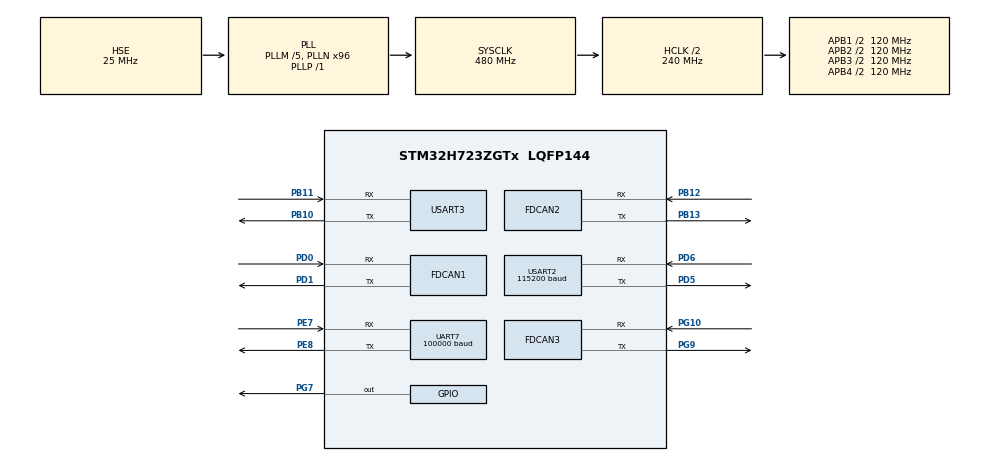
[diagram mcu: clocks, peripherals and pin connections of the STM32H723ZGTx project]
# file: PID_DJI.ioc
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CORTEX_M7.default_mode_Activation=1
Dma.Request0=USART3_RX
Dma.Request1=USART3_TX
Dma.Request2=UART7_RX
Dma.Request3=UART7_TX
Dma.Request4=USART2_RX
Dma.Request5=USART2_TX
Dma.UART7_RX.2.Direction=DMA_PERIPH_TO_MEMORY
Dma.UART7_RX.2.EventEnable=DISABLE
Dma.UART7_RX.2.FIFOMode=DMA_FIFOMODE_DISABLE
Dma.UART7_RX.2.Instance=DMA1_Stream2
Dma.UART7_RX.2.MemDataAlignment=DMA_MDATAALIGN_BYTE
Dma.UART7_RX.2.MemInc=DMA_MINC_ENABLE
Dma.UART7_RX.2.Mode=DMA_NORMAL
Dma.UART7_RX.2.PeriphDataAlignment=DMA_PDATAALIGN_BYTE
Dma.UART7_RX.2.PeriphInc=DMA_PINC_DISABLE
Dma.UART7_RX.2.Polarity=HAL_DMAMUX_REQ_GEN_RISING
Dma.UART7_RX.2.Priority=DMA_PRIORITY_LOW
Dma.UART7_RX.2.RequestNumber=1
Dma.UART7_RX.2.SignalID=NONE
Dma.UART7_RX.2.SyncEnable=DISABLE
Dma.UART7_RX.2.SyncPolarity=HAL_DMAMUX_SYNC_NO_EVENT
Dma.UART7_RX.2.SyncRequestNumber=1
Dma.UART7_RX.2.SyncSignalID=NONE
Dma.UART7_TX.3.Direction=DMA_MEMORY_TO_PERIPH
Dma.UART7_TX.3.EventEnable=DISABLE
Dma.UART7_TX.3.FIFOMode=DMA_FIFOMODE_DISABLE
Dma.UART7_TX.3.Instance=DMA1_Stream3
Dma.UART7_TX.3.MemDataAlignment=DMA_MDATAALIGN_BYTE
Dma.UART7_TX.3.MemInc=DMA_MINC_ENABLE
Dma.UART7_TX.3.Mode=DMA_NORMAL
Dma.UART7_TX.3.PeriphDataAlignment=DMA_PDATAALIGN_BYTE
Dma.UART7_TX.3.PeriphInc=DMA_PINC_DISABLE
Dma.UART7_TX.3.Polarity=HAL_DMAMUX_REQ_GEN_RISING
Dma.UART7_TX.3.Priority=DMA_PRIORITY_LOW
Dma.UART7_TX.3.RequestNumber=1
Dma.UART7_TX.3.SignalID=NONE
Dma.UART7_TX.3.SyncEnable=DISABLE
Dma.UART7_TX.3.SyncPolarity=HAL_DMAMUX_SYNC_NO_EVENT
Dma.UART7_TX.3.SyncRequestNumber=1
Dma.UART7_TX.3.SyncSignalID=NONE
Dma.USART2_RX.4.Direction=DMA_PERIPH_TO_MEMORY
Dma.USART2_RX.4.EventEnable=DISABLE
Dma.USART2_RX.4.FIFOMode=DMA_FIFOMODE_DISABLE
Dma.USART2_RX.4.Instance=DMA1_Stream4
Dma.USART2_RX.4.MemDataAlignment=DMA_MDATAALIGN_BYTE
Dma.USART2_RX.4.MemInc=DMA_MINC_ENABLE
Dma.USART2_RX.4.Mode=DMA_NORMAL
Dma.USART2_RX.4.PeriphDataAlignment=DMA_PDATAALIGN_BYTE
Dma.USART2_RX.4.PeriphInc=DMA_PINC_DISABLE
Dma.USART2_RX.4.Polarity=HAL_DMAMUX_REQ_GEN_RISING
Dma.USART2_RX.4.Priority=DMA_PRIORITY_LOW
Dma.USART2_RX.4.RequestNumber=1
Dma.USART2_RX.4.SignalID=NONE
Dma.USART2_RX.4.SyncEnable=DISABLE
Dma.USART2_RX.4.SyncPolarity=HAL_DMAMUX_SYNC_NO_EVENT
Dma.USART2_RX.4.SyncRequestNumber=1
Dma.USART2_RX.4.SyncSignalID=NONE
Dma.USART2_TX.5.Direction=DMA_MEMORY_TO_PERIPH
Dma.USART2_TX.5.EventEnable=DISABLE
Dma.USART2_TX.5.FIFOMode=DMA_FIFOMODE_DISABLE
Dma.USART2_TX.5.Instance=DMA1_Stream5
Dma.USART2_TX.5.MemDataAlignment=DMA_MDATAALIGN_BYTE
Dma.USART2_TX.5.MemInc=DMA_MINC_ENABLE
Dma.USART2_TX.5.Mode=DMA_NORMAL
Dma.USART2_TX.5.PeriphDataAlignment=DMA_PDATAALIGN_BYTE
Dma.USART2_TX.5.PeriphInc=DMA_PINC_DISABLE
Dma.USART2_TX.5.Polarity=HAL_DMAMUX_REQ_GEN_RISING
Dma.USART2_TX.5.Priority=DMA_PRIORITY_LOW
Dma.USART2_TX.5.RequestNumber=1
Dma.USART2_TX.5.SignalID=NONE
Dma.USART2_TX.5.SyncEnable=DISABLE
Dma.USART2_TX.5.SyncPolarity=HAL_DMAMUX_SYNC_NO_EVENT
Dma.USART2_TX.5.SyncRequestNumber=1
Dma.USART2_TX.5.SyncSignalID=NONE
Dma.USART3_RX.0.Direction=DMA_PERIPH_TO_MEMORY
Dma.USART3_RX.0.EventEnable=DISABLE
Dma.USART3_RX.0.FIFOMode=DMA_FIFOMODE_DISABLE
Dma.USART3_RX.0.Instance=DMA1_Stream0
Dma.USART3_RX.0.MemDataAlignment=DMA_MDATAALIGN_BYTE
Dma.USART3_RX.0.MemInc=DMA_MINC_ENABLE
Dma.USART3_RX.0.Mode=DMA_NORMAL
Dma.USART3_RX.0.PeriphDataAlignment=DMA_PDATAALIGN_BYTE
Dma.USART3_RX.0.PeriphInc=DMA_PINC_DISABLE
Dma.USART3_RX.0.Polarity=HAL_DMAMUX_REQ_GEN_RISING
Dma.USART3_RX.0.Priority=DMA_PRIORITY_LOW
Dma.USART3_RX.0.RequestNumber=1
Dma.USART3_RX.0.SignalID=NONE
Dma.USART3_RX.0.SyncEnable=DISABLE
Dma.USART3_RX.0.SyncPolarity=HAL_DMAMUX_SYNC_NO_EVENT
Dma.USART3_RX.0.SyncRequestNumber=1
Dma.USART3_RX.0.SyncSignalID=NONE
Dma.USART3_TX.1.Direction=DMA_MEMORY_TO_PERIPH
Dma.USART3_TX.1.EventEnable=DISABLE
Dma.USART3_TX.1.FIFOMode=DMA_FIFOMODE_DISABLE
Dma.USART3_TX.1.Instance=DMA1_Stream1
Dma.USART3_TX.1.MemDataAlignment=DMA_MDATAALIGN_BYTE
Dma.USART3_TX.1.MemInc=DMA_MINC_ENABLE
Dma.USART3_TX.1.Mode=DMA_NORMAL
Dma.USART3_TX.1.PeriphDataAlignment=DMA_PDATAALIGN_BYTE
Dma.USART3_TX.1.PeriphInc=DMA_PINC_DISABLE
Dma.USART3_TX.1.Polarity=HAL_DMAMUX_REQ_GEN_RISING
Dma.USART3_TX.1.Priority=DMA_PRIORITY_LOW
Dma.USART3_TX.1.RequestNumber=1
Dma.USART3_TX.1.SignalID=NONE
Dma.USART3_TX.1.SyncEnable=DISABLE
Dma.USART3_TX.1.SyncPolarity=HAL_DMAMUX_SYNC_NO_EVENT
Dma.USART3_TX.1.SyncRequestNumber=1
Dma.USART3_TX.1.SyncSignalID=NONE
FDCAN1.CalculateBaudRateNominal=1000000
FDCAN1.CalculateTimeBitNominal=1000
FDCAN1.CalculateTimeQuantumNominal=25.0
FDCAN1.DataPrescaler=3
FDCAN1.DataSyncJumpWidth=10
FDCAN1.DataTimeSeg1=29
FDCAN1.DataTimeSeg2=10
FDCAN1.NominalPrescaler=3
FDCAN1.NominalSyncJumpWidth=10
FDCAN1.NominalTimeSeg1=29
FDCAN1.NominalTimeSeg2=10
FDCAN1.ProtocolException=ENABLE
FDCAN1.RxFifo0ElmtsNbr=4
FDCAN1.StdFiltersNbr=1
FDCAN1.TxFifoQueueElmtsNbr=4
FDCAN2.CalculateBaudRateNominal=1000000
FDCAN2.CalculateTimeBitNominal=1000
FDCAN2.CalculateTimeQuantumNominal=25.0
FDCAN2.DataPrescaler=3
FDCAN2.DataSyncJumpWidth=10
FDCAN2.DataTimeSeg1=29
FDCAN2.DataTimeSeg2=10
FDCAN2.NominalPrescaler=3
FDCAN2.NominalSyncJumpWidth=10
FDCAN2.NominalTimeSeg1=29
FDCAN2.NominalTimeSeg2=10
FDCAN2.ProtocolException=ENABLE
FDCAN2.RxFifo0ElmtsNbr=4
FDCAN2.StdFiltersNbr=1
FDCAN2.TxFifoQueueElmtsNbr=4
FDCAN3.CalculateBaudRateNominal=1000000
FDCAN3.CalculateTimeBitNominal=1000
FDCAN3.CalculateTimeQuantumNominal=25.0
FDCAN3.DataPrescaler=3
FDCAN3.DataSyncJumpWidth=10
FDCAN3.DataTimeSeg1=29
FDCAN3.DataTimeSeg2=10
FDCAN3.NominalPrescaler=3
FDCAN3.NominalSyncJumpWidth=10
FDCAN3.NominalTimeSeg1=29
FDCAN3.NominalTimeSeg2=10
FDCAN3.ProtocolException=ENABLE
FDCAN3.RxFifo0ElmtsNbr=4
FDCAN3.StdFiltersNbr=1
FDCAN3.TxFifoQueueElmtsNbr=4
IWDG1.Prescaler=IWDG_PRESCALER_8
IWDG1.Reload=30
IWDG1.Window=30
Mcu.Family=STM32H7
Mcu.Name=STM32H723ZGTx
Mcu.Package=LQFP144
NVIC.DMA1_Stream0_IRQn=true\:0\:0\:false\:false\:true\:false\:true\:true
NVIC.DMA1_Stream1_IRQn=true\:0\:0\:false\:false\:true\:false\:true\:true
NVIC.DMA1_Stream2_IRQn=true\:0\:0\:false\:false\:true\:false\:true\:true
NVIC.DMA1_Stream3_IRQn=true\:0\:0\:false\:false\:true\:false\:true\:true
NVIC.DMA1_Stream4_IRQn=true\:0\:0\:false\:false\:true\:false\:true\:true
NVIC.DMA1_Stream5_IRQn=true\:0\:0\:false\:false\:true\:false\:true\:true
NVIC.FDCAN1_IT0_IRQn=true\:1\:0\:true\:false\:true\:true\:true\:true
NVIC.FDCAN2_IT0_IRQn=true\:1\:0\:true\:false\:true\:true\:true\:true
NVIC.FDCAN2_IT1_IRQn=true\:1\:0\:true\:false\:true\:true\:true\:true
NVIC.FDCAN3_IT0_IRQn=true\:0\:0\:false\:false\:true\:true\:true\:true
NVIC.FDCAN3_IT1_IRQn=true\:0\:0\:false\:false\:true\:true\:true\:true
NVIC.FDCAN_CAL_IRQn=true\:0\:0\:false\:false\:true\:true\:true\:true
NVIC.PriorityGroup=NVIC_PRIORITYGROUP_4
NVIC.TIM6_DAC_IRQn=true\:0\:0\:false\:false\:true\:true\:true\:true
NVIC.UART7_IRQn=true\:3\:0\:true\:false\:true\:true\:true\:true
NVIC.USART2_IRQn=true\:2\:0\:true\:false\:true\:true\:true\:true
NVIC.USART3_IRQn=true\:2\:0\:true\:false\:true\:true\:true\:true
PA13(JTMS/SWDIO).Mode=Serial_Wire
PA13(JTMS/SWDIO).Signal=DEBUG_JTMS-SWDIO
PA14(JTCK/SWCLK).Mode=Serial_Wire
PA14(JTCK/SWCLK).Signal=DEBUG_JTCK-SWCLK
PB10.Mode=Asynchronous
PB10.Signal=USART3_TX
PB11.Mode=Asynchronous
PB11.Signal=USART3_RX
PB12.Mode=FDCAN_Activate
PB12.Signal=FDCAN2_RX
PB13.Mode=FDCAN_Activate
PB13.Signal=FDCAN2_TX
PC14-OSC32_IN.Mode=LSE-External-Oscillator
PC14-OSC32_IN.Signal=RCC_OSC32_IN
PC15-OSC32_OUT.Mode=LSE-External-Oscillator
PC15-OSC32_OUT.Signal=RCC_OSC32_OUT
PD0.Mode=FDCAN_Activate
PD0.Signal=FDCAN1_RX
PD1.Mode=FDCAN_Activate
PD1.Signal=FDCAN1_TX
PD5.Mode=Asynchronous
PD5.Signal=USART2_TX
PD6.Mode=Asynchronous
PD6.Signal=USART2_RX
PE7.Mode=Asynchronous
PE7.Signal=UART7_RX
PE8.Mode=Asynchronous
PE8.Signal=UART7_TX
PG10.Mode=FDCAN_Activate
PG10.Signal=FDCAN3_RX
PG7.GPIO_PuPd=GPIO_PULLUP
PG7.Signal=GPIO_Output
PG9.Mode=FDCAN_Activate
PG9.Signal=FDCAN3_TX
PH0-OSC_IN.Mode=HSE-External-Oscillator
PH0-OSC_IN.Signal=RCC_OSC_IN
PH1-OSC_OUT.Mode=HSE-External-Oscillator
PH1-OSC_OUT.Signal=RCC_OSC_OUT
ProjectManager.HeapSize=0x200
ProjectManager.StackSize=0x400
ProjectManager.TargetToolchain=MDK-ARM V5.32
RCC.ADCFreq_Value=50390625
RCC.APB1Freq_Value=120000000
RCC.APB2Freq_Value=120000000
RCC.APB3Freq_Value=120000000
RCC.APB4Freq_Value=120000000
RCC.CortexFreq_Value=480000000
RCC.D1PPRE=RCC_APB3_DIV2
RCC.D2PPRE1=RCC_APB1_DIV2
RCC.D2PPRE2=RCC_APB2_DIV2
RCC.D3PPRE=RCC_APB4_DIV2
RCC.DIVM1=5
RCC.DIVN1=96
RCC.DIVP1=1
RCC.DIVQ1=4
RCC.HCLKFreq_Value=240000000
RCC.HPRE=RCC_HCLK_DIV2
RCC.HSE_VALUE=25000000
RCC.PLLFRACN=0
RCC.PLLSourceVirtual=RCC_PLLSOURCE_HSE
RCC.SYSCLKFreq_VALUE=480000000
RCC.SYSCLKSource=RCC_SYSCLKSOURCE_PLLCLK
RCC.USBFreq_Value=120000000
TIM6.Period=1000
TIM6.Prescaler=240
UART7.BaudRate=100000
USART2.BaudRate=115200
USART2.VirtualMode-Asynchronous=VM_ASYNC
USART3.VirtualMode-Asynchronous=VM_ASYNC
VP_IWDG1_VS_IWDG.Mode=IWDG_Activate
VP_TIM6_VS_ClockSourceINT.Mode=Enable_Timer
board=custom

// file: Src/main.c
/* USER CODE BEGIN Header */
/**
  ******************************************************************************
  * @file           : main.c
  * @brief          : Main program body
  ******************************************************************************
  * @attention
  *
  * Copyright (c) 2024 STMicroelectronics.
  * All rights reserved.
  *
  * This software is licensed under terms that can be found in the LICENSE file
  * in the root directory of this software component.
  * If no LICENSE file comes with this software, it is provided AS-IS.
  *
  ******************************************************************************
  */
/* USER CODE END Header */
#include "main.h"
#include "dma.h"
#include "fdcan.h"
#include "iwdg.h"
#include "tim.h"
#include "usart.h"
#include "gpio.h"

/* USER CODE BEGIN Includes */
#include "PID_MODEL.h"
#include "rtwtypes.h"
#include <math.h>
#include "bsp_fdcan.h"
#include "motorctrl.h"
#include "stdio.h"
#include "math.h"
#include "dm_motor_drv.h"
#include "dm_motor_ctrl.h"
#include "UPPER_LOCATION.h"
#include "stdio.h"
#include "string.h"
#include "sbus.h"
/* USER CODE END Includes */

/* USER CODE BEGIN PTD */
extern motor_t motor[num];
extern uint8_t CAN_RECEIVE[3];
extern TGT_COOR TC;
extern REAL_COOR RC;
extern double deadband;
extern motor_measure_t *motor_data_can1[8];
extern motor_measure_t *motor_data_can2[8];
extern motor_measure_t *motor_data_can3[8];

extern IWDG_HandleTypeDef hiwdg1;
extern int Vel_Deadband[3];
#define VEL      1
#define ANG      2
uint8_t active_can[10];
/* USER CODE END PTD */

/* USER CODE BEGIN PM */
vehicle_state vehicle_test={
0,0,0,0
};

uint8_t uart_index[2] = {0};
uint8_t buffer[100];
char UART2_TX_BUF[100];
uint8_t UART7_RX_BUF[100];
uint8_t UART2_RX_BUF[100];
uint8_t rx_datatemp[8];
int cnt[10];
int PinState=0;
uint8_t usart2_rec=0;
/* USER CODE END PM */

void SystemClock_Config(void);
static void MPU_Config(void);

int main(void)
{

  /* MPU Configuration--------------------------------------------------------*/
  MPU_Config();

  /* MCU Configuration--------------------------------------------------------*/

  /* Reset of all peripherals, Initializes the Flash interface and the Systick. */
  HAL_Init();

  /* Configure the system clock */
  SystemClock_Config();

  /* Initialize all configured peripherals */
  MX_GPIO_Init();
  MX_DMA_Init();
  MX_TIM6_Init();
  MX_FDCAN2_Init();
  MX_USART2_UART_Init();
  MX_FDCAN3_Init();
  MX_USART3_UART_Init();
  MX_FDCAN1_Init();
  MX_UART7_Init();
  MX_IWDG1_Init();
  /* USER CODE BEGIN 2 */
	HAL_TIM_Base_Start_IT(&htim6);
	HAL_UART_Receive_IT(&huart2, buffer+1, 1);
	HAL_UART_Receive_IT(&huart7, buffer, 1);
  can_filter_init();
	bsp_can_init();
	PID_MODEL_initialize();
	PID_Speed_Para_Init(1, 1, 10 , 3 , 0.01);
	PID_Speed_Para_Init(1, 2, 10 , 3 , 0.01);
	PID_Speed_Para_Init(1, 3, 10 , 3 , 0.01);
	PID_Speed_Para_Init(1, 4, 10 , 3 , 0.01);
	PID_Speed_Para_Init(1, 5, 10 , 3 , 0.01);

	PID_Speed_Para_Init(2, 1, 20 , 8 , 0.01);
	PID_Speed_Para_Init(2, 2, 20 , 8 , 0.01);
	PID_Speed_Para_Init(2, 3, 20 , 8 , 0.01);

	PID_Speed_Para_Init(2, 5, 70 , 8 , 0.01);
	PID_Speed_Para_Init(2, 6, 70 , 8 , 0.01);
	PID_Speed_Para_Init(2, 7, 70 , 8 , 0.01);

	PID_Speed_Para_Init(3, 1, 10 , 3 , 0.01);
	PID_Speed_Para_Init(3, 2, 10 , 3 , 0.01);
	PID_Speed_Para_Init(3, 3, 10 , 3 , 0.01);
	PID_Speed_Para_Init(3, 4, 10 , 3 , 0.01);
	PID_Speed_Para_Init(3, 5, 10 , 3 , 0.01);

	PID_Angle_S_Para_Init(1, 1 , 10 , 3 , 0.01);
  PID_Angle_A_Para_Init(1, 1 , 0.3 , 0 , 0);
	rtP.TRANS_CH1_1=0.5;

	PID_Angle_S_Para_Init(2, 1 , 10 , 3 , 0.01);
  PID_Angle_A_Para_Init(2, 1 , 0.3 , 0 , 0);

	PID_Angle_S_Para_Init(2, 3 , 5 , 3 , 0.01);
  PID_Angle_A_Para_Init(2, 3 , 1.5 , 1 , 0.1);

	PID_Angle_S_Para_Init(2, 5 , 70 , 30 , 0.1);
  PID_Angle_A_Para_Init(2, 5 , 0.5 , 0 , 0);
	PID_Angle_S_Para_Init(2, 6 , 70 , 30 , 0.1);
  PID_Angle_A_Para_Init(2, 6 , 0.5 , 0 , 0);
	PID_Angle_S_Para_Init(2, 7 , 70 , 30 , 0.1);
  PID_Angle_A_Para_Init(2, 7 , 0.5 , 0 , 0);

	PID_Angle_S_Para_Init(3, 1 , 10 , 3 , 0.01);
  PID_Angle_A_Para_Init(3, 1 , 0.3 , 0 , 0);

	Set_6020_Mode( 0 );
	set_mode( VEL, VEL, VEL, VEL, VEL, VEL, VEL,
            VEL, VEL, VEL, VEL, ANG, ANG, ANG,
					  ANG, VEL, VEL, VEL, ANG, ANG, ANG );
	dm_motor_init();
	dm_motor_enable(&hfdcan1,&motor[Motor1]);
	memset(UART2_TX_BUF,0,sizeof(UART2_TX_BUF));

	while(1){
		active_can[0]=motor_data_can2[4]->activate;
		if(active_can[0])
			break;
	}

		rtU.target_CH2_5=5848;
	while(1){
		active_can[1]=motor_data_can2[5]->activate;
		if(active_can[1])
			break;
	}

		rtU.target_CH2_6=3021;
	while(1){
		active_can[2]=motor_data_can2[6]->activate;
		if(active_can[2])
			break;
	}

		rtU.target_CH2_7=3055;
  /* USER CODE END 2 */

  /* Infinite loop */
  /* USER CODE BEGIN WHILE */
  while (1)
  {

//		vehicle_test.Vy=rtU.speed_rpm_CH2_1;
//		vehicle_test.omega=rtU.speed_rpm_CH2_2;
//		vehicle_test.Park=rtU.speed_rpm_CH2_3;
		if(RC.action==1)
		{
			int buff_len;
			memset(UART2_TX_BUF,0,buff_len);
			buff_len = sprintf(UART2_TX_BUF,"%f\r\n",(float)deadband);
			HAL_UART_Transmit(&huart2,(uint8_t *)UART2_TX_BUF,buff_len,10);
		}
		if(SBUS_CH.ConnectState==1){
			if(SBUS_CH.CH5>800)
			{
			vehicle_test.Vx		=	SBUS_CH.CH1-1002;
			vehicle_test.Vy		=	SBUS_CH.CH2-1002;
			vehicle_test.omega=SBUS_CH.CH4-1002;
			Vel_Deadband[0]=40;
			Vel_Deadband[1]=40;
			Vel_Deadband[2]=40;
			}
			else{
			vehicle_test.Vx		=	RC.Vx;
			vehicle_test.Vy		=	RC.Vy;
			vehicle_test.omega=	RC.omega;
			Vel_Deadband[0]=20;
			Vel_Deadband[1]=20;
			Vel_Deadband[2]=20;
			}
			vehicle_test.Park=(SBUS_CH.CH6>800);
		}

		ctrlmotor(vehicle_test.Vx,vehicle_test.Vy,vehicle_test.omega,vehicle_test.Park);

    /* USER CODE END WHILE */

  }
}

void SystemClock_Config(void)
{
  RCC_OscInitTypeDef RCC_OscInitStruct = {0};
  RCC_ClkInitTypeDef RCC_ClkInitStruct = {0};

  /** Supply configuration update enable
  */
  HAL_PWREx_ConfigSupply(PWR_LDO_SUPPLY);

  /** Configure the main internal regulator output voltage
  */
  __HAL_PWR_VOLTAGESCALING_CONFIG(PWR_REGULATOR_VOLTAGE_SCALE0);

  while(!__HAL_PWR_GET_FLAG(PWR_FLAG_VOSRDY)) {}

  /** Initializes the RCC Oscillators according to the specified parameters
  * in the RCC_OscInitTypeDef structure.
  */
  RCC_OscInitStruct.OscillatorType = RCC_OSCILLATORTYPE_LSI|RCC_OSCILLATORTYPE_HSE;
  RCC_OscInitStruct.HSEState = RCC_HSE_ON;
  RCC_OscInitStruct.LSIState = RCC_LSI_ON;
  RCC_OscInitStruct.PLL.PLLState = RCC_PLL_ON;
  RCC_OscInitStruct.PLL.PLLSource = RCC_PLLSOURCE_HSE;
  RCC_OscInitStruct.PLL.PLLM = 5;
  RCC_OscInitStruct.PLL.PLLN = 96;
  RCC_OscInitStruct.PLL.PLLP = 1;
  RCC_OscInitStruct.PLL.PLLQ = 4;
  RCC_OscInitStruct.PLL.PLLR = 2;
  RCC_OscInitStruct.PLL.PLLRGE = RCC_PLL1VCIRANGE_2;
  RCC_OscInitStruct.PLL.PLLVCOSEL = RCC_PLL1VCOWIDE;
  RCC_OscInitStruct.PLL.PLLFRACN = 0;
  if (HAL_RCC_OscConfig(&RCC_OscInitStruct) != HAL_OK)
  {
    Error_Handler();
  }

  /** Initializes the CPU, AHB and APB buses clocks
  */
  RCC_ClkInitStruct.ClockType = RCC_CLOCKTYPE_HCLK|RCC_CLOCKTYPE_SYSCLK
                              |RCC_CLOCKTYPE_PCLK1|RCC_CLOCKTYPE_PCLK2
                              |RCC_CLOCKTYPE_D3PCLK1|RCC_CLOCKTYPE_D1PCLK1;
  RCC_ClkInitStruct.SYSCLKSource = RCC_SYSCLKSOURCE_PLLCLK;
  RCC_ClkInitStruct.SYSCLKDivider = RCC_SYSCLK_DIV1;
  RCC_ClkInitStruct.AHBCLKDivider = RCC_HCLK_DIV2;
  RCC_ClkInitStruct.APB3CLKDivider = RCC_APB3_DIV2;
  RCC_ClkInitStruct.APB1CLKDivider = RCC_APB1_DIV2;
  RCC_ClkInitStruct.APB2CLKDivider = RCC_APB2_DIV2;
  RCC_ClkInitStruct.APB4CLKDivider = RCC_APB4_DIV2;

  if (HAL_RCC_ClockConfig(&RCC_ClkInitStruct, FLASH_LATENCY_3) != HAL_OK)
  {
    Error_Handler();
  }
}

/* USER CODE BEGIN 4 */
void HAL_TIM_PeriodElapsedCallback(TIM_HandleTypeDef *htim)
{
  if (htim->Instance == TIM6)
  {

    cnt[0]++;

		HAL_IWDG_Refresh(&hiwdg1);//喂狗

		dm_motor_ctrl_send(&hfdcan1,&motor[Motor1]);

		Reach_TGT();
		get_msgn();
		assign_output();
    motor_state_update();
		set_reset_status();
		PID_MODEL_step();
		cnt[1]++;
		if(cnt[1]==500){
			HAL_GPIO_TogglePin(GPIOG,GPIO_PIN_7);
			cnt[1]=0;
		}

  }
}

void HAL_UART_RxCpltCallback(UART_HandleTypeDef *huart)
{

		 if (huart->Instance == USART2)
    {
				if(uart_index[1] == 0 && buffer[1]!=0xA5){
					HAL_UART_Receive_IT(&huart2, buffer+1, 1);

				}else{
        UART2_RX_BUF[uart_index[1]++] = buffer[1];

        if (uart_index[1] == 16)
        {
            uart_index[1] = 0;
            if (UART2_RX_BUF[0] == 0xA5 && UART2_RX_BUF[15] == 0x5A)
            {
								Receive();

            }
        }

        HAL_UART_Receive_IT(&huart2, buffer+1, 1);
			}

    }

    if (huart->Instance == UART7)
    {

			if(uart_index[0] == 0 && buffer[0]!=0x0F){
					HAL_UART_Receive_IT(&huart7, buffer, 1);

				}else
        UART7_RX_BUF[uart_index[0]++] = buffer[0];

        if (uart_index[0] == 24)
        {
            uart_index[0] = 0;
            if (UART7_RX_BUF[0] == 0x0F && UART7_RX_BUF[24] == 0x00)
            {
								update_sbus(UART7_RX_BUF);
            }
        }

        HAL_UART_Receive_IT(&huart7, buffer, 1);

    }
}
void HAL_UART_ErrorCallback(UART_HandleTypeDef *huart)
{
  if (huart->Instance == UART7)
  {
        HAL_UART_Receive_IT(&huart7, buffer+1, 1);

  }
  if (huart->Instance == USART2)
  {
    HAL_UART_Receive_IT(&huart2, buffer, 1);
  }
}

/* USER CODE END 4 */

 /* MPU Configuration */

void MPU_Config(void)
{
  MPU_Region_InitTypeDef MPU_InitStruct = {0};

  /* Disables the MPU */
  HAL_MPU_Disable();

  /** Initializes and configures the Region and the memory to be protected
  */
  MPU_InitStruct.Enable = MPU_REGION_ENABLE;
  MPU_InitStruct.Number = MPU_REGION_NUMBER0;
  MPU_InitStruct.BaseAddress = 0x0;
  MPU_InitStruct.Size = MPU_REGION_SIZE_4GB;
  MPU_InitStruct.SubRegionDisable = 0x87;
  MPU_InitStruct.TypeExtField = MPU_TEX_LEVEL0;
  MPU_InitStruct.AccessPermission = MPU_REGION_NO_ACCESS;
  MPU_InitStruct.DisableExec = MPU_INSTRUCTION_ACCESS_DISABLE;
  MPU_InitStruct.IsShareable = MPU_ACCESS_SHAREABLE;
  MPU_InitStruct.IsCacheable = MPU_ACCESS_NOT_CACHEABLE;
  MPU_InitStruct.IsBufferable = MPU_ACCESS_NOT_BUFFERABLE;

  HAL_MPU_ConfigRegion(&MPU_InitStruct);
  /* Enables the MPU */
  HAL_MPU_Enable(MPU_PRIVILEGED_DEFAULT);

}

void Error_Handler(void)
{
  __disable_irq();
  while (1)
  {
  }
}
